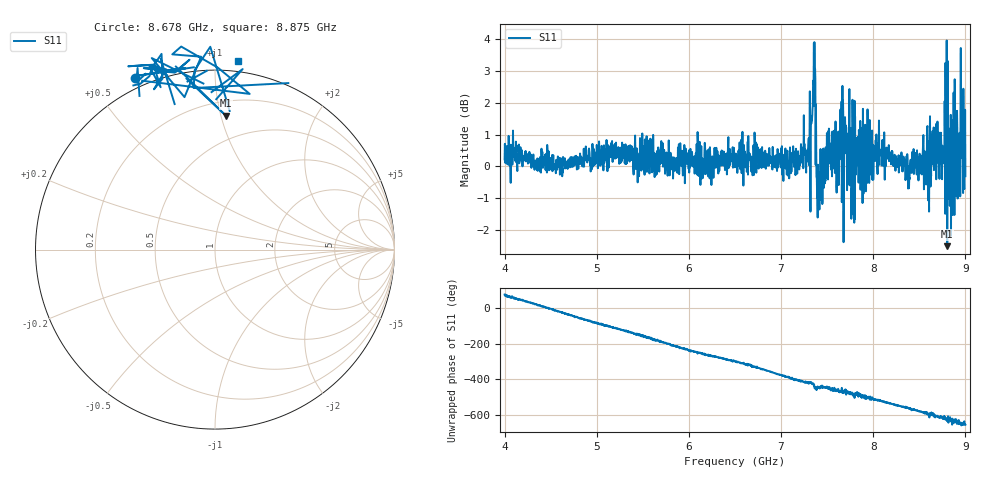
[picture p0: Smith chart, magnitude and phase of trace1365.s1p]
! Created with skrf 1.8.0 (http://scikit-rf.org).
# Hz S RI R 50.0
!freq ReS11 ImS11
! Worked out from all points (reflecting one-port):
!   1601 points, 4 GHz to 9 GHz, reference 50 ohm
!   lowest |S11| = -2.5 dB at 8.803 GHz (marker M1), VSWR 6.95, Z = 15.3 + j51.9 ohm
!   phase of S11 starts at 76 deg and turns -731 deg over the sweep
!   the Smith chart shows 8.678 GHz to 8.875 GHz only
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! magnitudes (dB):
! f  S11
! 4 GHz  0.2
! 4.625 GHz  -0.3
! 5.25 GHz  0.2
! 5.875 GHz  -0.2
! 6.5 GHz  0.0
! 7.125 GHz  0.1
! 7.294 GHz  0.5
! 7.319 GHz  -1.4
! 7.347 GHz  2.6
! 7.366 GHz  2.5
! 7.4 GHz  0.1
! 7.412 GHz  -0.9
! 7.509 GHz  -0.4
! 7.609 GHz  -0.3
! 7.65 GHz  1.1
! 7.688 GHz  1.4
! 7.703 GHz  0.4
! 7.75 GHz  0.0
! 7.769 GHz  -0.8
! 7.822 GHz  0.0
! 8.05 GHz  0.6
! 8.375 GHz  -0.1
! 8.803 GHz  -2.5
! 8.856 GHz  0.1
! 8.884 GHz  2.7
! 8.919 GHz  0.0
! 8.972 GHz  0.4
! 9 GHz  -0.3
